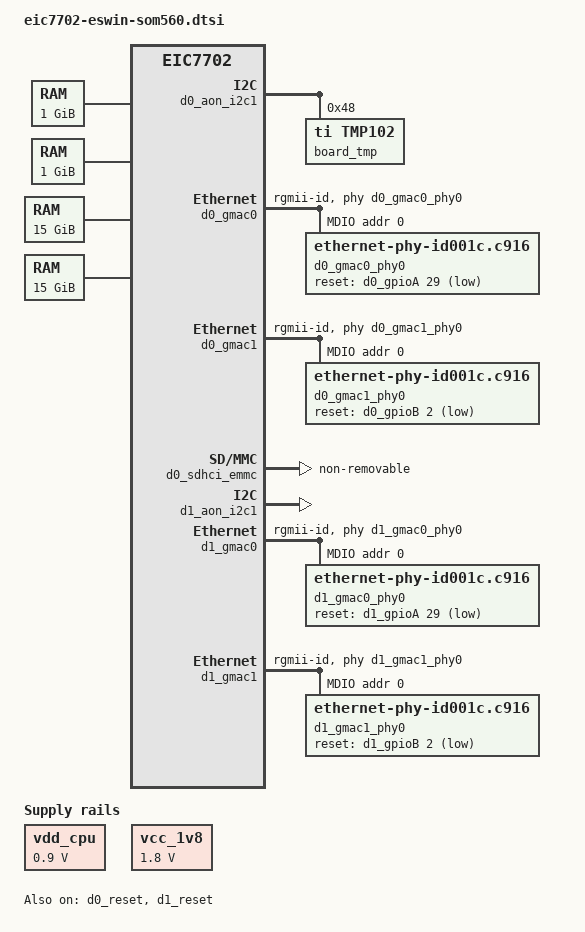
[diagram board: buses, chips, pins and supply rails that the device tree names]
// SPDX-License-Identifier: GPL-2.0-only
/*
 * ESWIN SOM560 module
 * Copyright (c) 2026 Beijing ESWIN Computing Technology Co., Ltd.
 */

#include "eic7702.dtsi"
#include "eic7702-pinctrl.dtsi"
#include <dt-bindings/gpio/gpio.h>

/ {
	compatible = "eswin,eic7702-som560", "eswin,eic7702";

	aliases {
		serial0 = &d0_uart0;
		ethernet0 = &d0_gmac0;
		ethernet1 = &d0_gmac1;
		ethernet2 = &d1_gmac0;
		ethernet3 = &d1_gmac1;
		mmc0 = &d0_sdhci_emmc;
	};

	memory@80000000 {
		device_type = "memory";
		reg = <0x0 0x80000000 0x0 0x40000000>;
		numa-node-id = <0>;
	};

	memory@2000000000 {
		device_type = "memory";
		reg = <0x20 0x00000000 0x0 0x40000000>;
		numa-node-id = <1>;
	};

	/* Both logical NUMA ranges here stripe across both memory controllers.
	 * The first 2 GiB of this view aliases the direct banks above.
	 */
	memory@4080000000 {
		device_type = "memory";
		reg = <0x40 0x80000000 0x3 0xc0000000>;
		numa-node-id = <0>;
	};

	memory@4440000000 {
		device_type = "memory";
		reg = <0x44 0x40000000 0x3 0xc0000000>;
		numa-node-id = <1>;
	};

	distance-map {
		compatible = "numa-distance-map-v1";
		distance-matrix = <0 0 10>,
				<0 1 100>,
				<1 0 100>,
				<1 1 10>;
	};

	reserved-memory {
		#address-cells = <2>;
		#size-cells = <2>;
		ranges;

		/*
		 * Firmware uses the direct DDR ranges noted below, which also
		 * appear in the striped window. A Linux page there holds 256-byte
		 * stripes from both dies, so a direct range of size S on one die
		 * is excluded as an aligned 2 * S striped range.
		 */

		/* Die 1 L3 zero-device buffer, see d1_zero_memory */
		reserved@4080000000 {
			reg = <0x40 0x80000000 0x0 0x00800000>;
			no-map;
		};

		/* LPCPU boot vectors at 0xdffe0000 and 0xdfff0000 */
		reserved@40bffc0000 {
			reg = <0x40 0xbffc0000 0x0 0x00040000>;
			no-map;
		};

		/* Die 0 LPCPU firmware at 0x1fe000000, 32 MiB */
		reserved@42fc000000 {
			reg = <0x42 0xfc000000 0x0 0x04000000>;
			no-map;
		};

		/* Die 1 LPCPU firmware at 0x21fe000000, 32 MiB */
		reserved@43fc000000 {
			reg = <0x43 0xfc000000 0x0 0x04000000>;
			no-map;
		};

		/* The vendor cache driver emulates the die 1 L3 zero device here. */
		d1_zero_memory: zero-device@2040000000 {
			no-map;
			reg = <0x20 0x40000000 0x0 0x400000>;
		};
	};

	d0_cpu_opps: opp-table-cluster0 {
		compatible = "operating-points-v2";
		opp-shared;
#include "eic7702-eswin-som560-cpu-opps.dtsi"
	};

	d1_cpu_opps: opp-table-cluster1 {
		compatible = "operating-points-v2";
		opp-shared;
#include "eic7702-eswin-som560-cpu-opps.dtsi"
	};

	vdd_cpu: regulator-vdd-cpu {
		compatible = "regulator-gpio";
		regulator-name = "VDD_CPU";
		/* Keep the shared rail at the boot voltage during CPUFreq handoff. */
		regulator-min-microvolt = <900000>;
		regulator-max-microvolt = <900000>;
		regulator-boot-on;
		regulator-always-on;
		pinctrl-names = "default";
		pinctrl-0 = <&d0_gpio94_pins>;
		gpios = <&d0_gpioC 30 GPIO_ACTIVE_HIGH>;
		gpios-states = <1>;
		states = <800000 0>, <900000 1>;
	};

	vcc_1v8: regulator-1v8 {
		compatible = "regulator-fixed";
		regulator-name = "1v8";
		regulator-always-on;
		regulator-boot-on;
		regulator-min-microvolt = <1800000>;
		regulator-max-microvolt = <1800000>;
	};
};

&cpu0 {
	cpu-supply = <&vdd_cpu>;
	operating-points-v2 = <&d0_cpu_opps>;
};

&cpu1 {
	cpu-supply = <&vdd_cpu>;
	operating-points-v2 = <&d0_cpu_opps>;
};

&cpu2 {
	cpu-supply = <&vdd_cpu>;
	operating-points-v2 = <&d0_cpu_opps>;
};

&cpu3 {
	cpu-supply = <&vdd_cpu>;
	operating-points-v2 = <&d0_cpu_opps>;
};

&cpu4 {
	cpu-supply = <&vdd_cpu>;
	operating-points-v2 = <&d1_cpu_opps>;
};

&cpu5 {
	cpu-supply = <&vdd_cpu>;
	operating-points-v2 = <&d1_cpu_opps>;
};

&cpu6 {
	cpu-supply = <&vdd_cpu>;
	operating-points-v2 = <&d1_cpu_opps>;
};

&cpu7 {
	cpu-supply = <&vdd_cpu>;
	operating-points-v2 = <&d1_cpu_opps>;
};

&d0_aon_i2c0 {
	status = "disabled";
};

&d0_aon_i2c1 {
	status = "okay";
	tmp102@48 {
		compatible = "ti,tmp102";
		reg = <0x48>;
		label = "board_tmp";
		#thermal-sensor-cells = <1>;
	};

};

&d0_clock_24m {
	clock-frequency = <24000000>;
	clock-output-names = "d0_clock_24m";
};

&d0_gmac0 {
	phy-handle = <&d0_gmac0_phy0>;
	phy-mode = "rgmii-id";
	pinctrl-names = "default";
	pinctrl-0 = <&d0_gpio29_pins>;
	rx-internal-delay-ps = <20>;
	tx-internal-delay-ps = <20>;
	status = "okay";

	mdio {
		d0_gmac0_phy0: ethernet-phy@0 {
			compatible = "ethernet-phy-id001c.c916";
			reg = <0>;
			reset-gpios = <&d0_gpioA 29 GPIO_ACTIVE_LOW>;
			reset-assert-us = <10000>;
			reset-deassert-us = <80000>;
		};
	};
};

&d0_gmac1 {
	phy-handle = <&d0_gmac1_phy0>;
	phy-mode = "rgmii-id";
	pinctrl-names = "default";
	pinctrl-0 = <&d0_gpio34_pins>;
	rx-internal-delay-ps = <200>;
	tx-internal-delay-ps = <2100>;
	status = "okay";

	mdio {
		d0_gmac1_phy0: ethernet-phy@0 {
			compatible = "ethernet-phy-id001c.c916";
			reg = <0>;
			reset-gpios = <&d0_gpioB 2 GPIO_ACTIVE_LOW>;
			reset-assert-us = <10000>;
			reset-deassert-us = <80000>;
		};
	};
};

&d0_gpio {
	status = "okay";
};

&d0_gpio29_pins {
	input-disable;
	bias-pull-up;
};

&d0_gpio34_pins {
	input-disable;
	bias-pull-up;
};

&d0_pinctrl {
	status = "okay";
	vrgmii-supply = <&vcc_1v8>;
};

&d0_reset {
	status = "okay";
};

&d0_sdhci_emmc {
	eswin,drive-impedance-ohms = <33>;
	mmc-hs400-1_8v;
	no-sd;
	no-sdio;
	non-removable;
	status = "okay";
};

&d1_aon_i2c0 {
	status = "disabled";
};

&d1_aon_i2c1 {
	status = "okay";
};

&d1_ccache {
	status = "okay";
};

&d1_clock_24m {
	clock-frequency = <24000000>;
	clock-output-names = "d1_clock_24m";
};

&d1_gmac0 {
	phy-handle = <&d1_gmac0_phy0>;
	phy-mode = "rgmii-id";
	pinctrl-names = "default";
	pinctrl-0 = <&d1_gpio29_pins>;
	rx-internal-delay-ps = <20>;
	tx-internal-delay-ps = <20>;
	status = "okay";

	mdio {
		d1_gmac0_phy0: ethernet-phy@0 {
			compatible = "ethernet-phy-id001c.c916";
			reg = <0>;
			reset-gpios = <&d1_gpioA 29 GPIO_ACTIVE_LOW>;
			reset-assert-us = <10000>;
			reset-deassert-us = <80000>;
		};
	};
};

&d1_gmac1 {
	phy-handle = <&d1_gmac1_phy0>;
	phy-mode = "rgmii-id";
	pinctrl-names = "default";
	pinctrl-0 = <&d1_gpio34_pins>;
	rx-internal-delay-ps = <200>;
	tx-internal-delay-ps = <2100>;
	status = "okay";

	mdio {
		d1_gmac1_phy0: ethernet-phy@0 {
			compatible = "ethernet-phy-id001c.c916";
			reg = <0>;
			reset-gpios = <&d1_gpioB 2 GPIO_ACTIVE_LOW>;
			reset-assert-us = <10000>;
			reset-deassert-us = <80000>;
		};
	};
};

&d1_gpio {
	status = "okay";
};

&d1_gpio29_pins {
	input-disable;
	bias-pull-up;
};

&d1_gpio34_pins {
	input-disable;
	bias-pull-up;
};

&d1_pinctrl {
	status = "okay";
	vrgmii-supply = <&vcc_1v8>;
};

&d1_reset {
	status = "okay";
};
